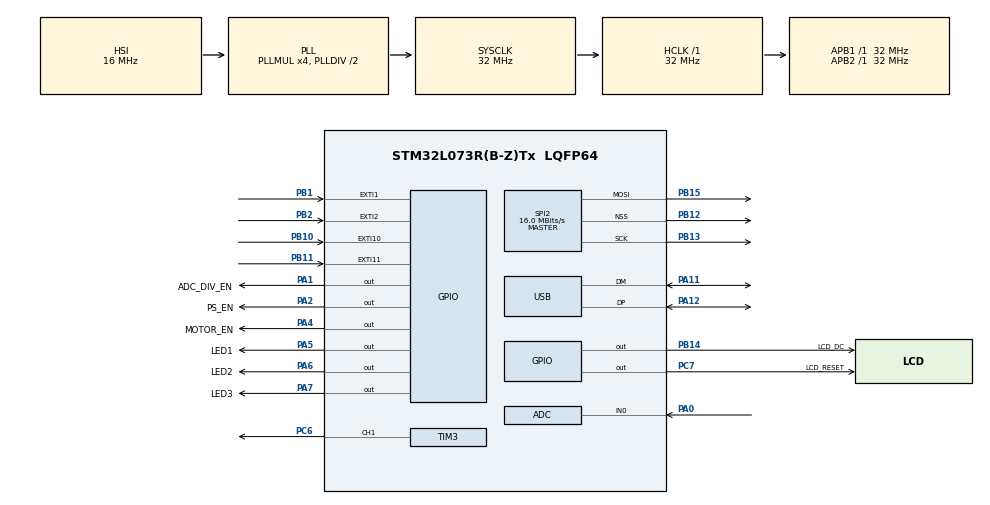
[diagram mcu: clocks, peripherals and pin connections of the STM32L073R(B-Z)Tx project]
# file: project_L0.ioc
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ADC.LowPowerAutoPowerOff=DISABLE
ADC.SamplingTime=ADC_SAMPLETIME_79CYCLES_5
Dma.Request0=SPI2_TX
Dma.SPI2_TX.0.Direction=DMA_MEMORY_TO_PERIPH
Dma.SPI2_TX.0.Instance=DMA1_Channel5
Dma.SPI2_TX.0.MemDataAlignment=DMA_MDATAALIGN_HALFWORD
Dma.SPI2_TX.0.MemInc=DMA_MINC_DISABLE
Dma.SPI2_TX.0.Mode=DMA_NORMAL
Dma.SPI2_TX.0.PeriphDataAlignment=DMA_PDATAALIGN_HALFWORD
Dma.SPI2_TX.0.PeriphInc=DMA_PINC_DISABLE
Dma.SPI2_TX.0.Priority=DMA_PRIORITY_LOW
Mcu.Family=STM32L0
Mcu.Name=STM32L073R(B-Z)Tx
Mcu.Package=LQFP64
NVIC.ADC1_COMP_IRQn=true\:0\:0\:false\:false\:true\:true\:true
NVIC.DMA1_Channel4_5_6_7_IRQn=true\:0\:0\:false\:false\:true\:false\:true
NVIC.EXTI0_1_IRQn=true\:0\:0\:false\:false\:true\:true\:true
NVIC.EXTI2_3_IRQn=true\:0\:0\:false\:false\:true\:true\:true
NVIC.EXTI4_15_IRQn=true\:0\:0\:true\:false\:true\:true\:true
NVIC.RTC_IRQn=true\:0\:0\:false\:false\:true\:true\:true
NVIC.SPI2_IRQn=true\:0\:0\:false\:false\:true\:true\:true
NVIC.TIM21_IRQn=true\:0\:0\:false\:false\:true\:true\:true
NVIC.TIM22_IRQn=true\:0\:0\:false\:false\:true\:true\:true
NVIC.TIM2_IRQn=true\:0\:0\:false\:false\:true\:true\:true
NVIC.TIM6_DAC_IRQn=true\:0\:0\:false\:false\:true\:true\:true
PA0.Mode=IN0
PA0.Signal=ADC_IN0
PA1.GPIO_Label=ADC_DIV_EN
PA1.Signal=GPIO_Output
PA11.Mode=Device
PA11.Signal=USB_DM
PA12.Mode=Device
PA12.Signal=USB_DP
PA2.GPIO_Label=PS_EN
PA2.PinState=GPIO_PIN_SET
PA2.Signal=GPIO_Output
PA4.GPIO_Label=MOTOR_EN
PA4.Signal=GPIO_Output
PA5.GPIO_Label=LED1
PA5.Signal=GPIO_Output
PA6.GPIO_Label=LED2
PA6.Signal=GPIO_Output
PA7.GPIO_Label=LED3
PA7.Signal=GPIO_Output
PB1.Signal=GPXTI1
PB10.Signal=GPXTI10
PB11.Signal=GPXTI11
PB12.Mode=NSS_Signal_Hard_Output
PB12.Signal=SPI2_NSS
PB13.Mode=TX_Only_Simplex_Unidirect_Master
PB13.Signal=SPI2_SCK
PB14.GPIO_Label=LCD_DC
PB14.GPIO_Speed=GPIO_SPEED_FREQ_VERY_HIGH
PB14.Signal=GPIO_Output
PB15.Mode=TX_Only_Simplex_Unidirect_Master
PB15.Signal=SPI2_MOSI
PB2.GPIO_PuPd=GPIO_NOPULL
PB2.Signal=GPXTI2
PC14-OSC32_IN.Mode=LSE-External-Oscillator
PC14-OSC32_IN.Signal=RCC_OSC32_IN
PC15-OSC32_OUT.Mode=LSE-External-Oscillator
PC15-OSC32_OUT.Signal=RCC_OSC32_OUT
PC6.Signal=S_TIM3_CH1
PC7.GPIO_Label=LCD_RESET
PC7.PinState=GPIO_PIN_SET
PC7.Signal=GPIO_Output
ProjectManager.HeapSize=0x200
ProjectManager.StackSize=0x400
ProjectManager.TargetToolchain=STM32CubeIDE
RCC.AHBFreq_Value=32000000
RCC.APB1Freq_Value=32000000
RCC.APB1TimFreq_Value=32000000
RCC.APB2Freq_Value=32000000
RCC.APB2TimFreq_Value=32000000
RCC.HCLKFreq_Value=32000000
RCC.HSE_VALUE=8000000
RCC.HSI16_VALUE=16000000
RCC.HSI48MClockSelection=RCC_USBCLKSOURCE_HSI48
RCC.HSI48_VALUE=48000000
RCC.HSI_VALUE=16000000
RCC.LptimClockSelection=RCC_LPTIM1CLKSOURCE_LSE
RCC.MSI_VALUE=2097000
RCC.PLLMUL=RCC_PLLMUL_4
RCC.RTCClockSelection=RCC_RTCCLKSOURCE_LSE
RCC.RTCClockSelectionVirtual=RCC_RTCCLKSOURCE_LSE
RCC.SYSCLKFreq_VALUE=32000000
RCC.SYSCLKSource=RCC_SYSCLKSOURCE_PLLCLK
RCC.VCOOutputFreq_Value=64000000
RTC.Alarm_B-Alarm\ B=RTC_ALARM_B
RTC.Format=RTC_FORMAT_BIN
RTC.Month=RTC_MONTH_DECEMBER
RTC.WeekDay=RTC_WEEKDAY_SUNDAY
RTC.Year=19
SH.S_TIM3_CH1.0=TIM3_CH1,PWM Generation1 CH1
SPI2.BaudRatePrescaler=SPI_BAUDRATEPRESCALER_2
SPI2.CalculateBaudRate=16.0 MBits/s
SPI2.Direction=SPI_DIRECTION_2LINES
SPI2.Mode=SPI_MODE_MASTER
SPI2.VirtualNSS=VM_NSSHARD
SPI2.VirtualType=VM_MASTER
TIM2.Channel-Output\ Compare2\ No\ Output=TIM_CHANNEL_2
TIM2.Period=0x3FFF
TIM2.Prescaler=0
TIM2.TIM2_ETR_REMAP-ClockSourceETR_Mode2_Remap_TIM2=TIM2_ETR_LSE
TIM21.AutoReloadPreload=TIM_AUTORELOAD_PRELOAD_DISABLE
TIM21.Channel-Output\ Compare1\ No\ Output=TIM_CHANNEL_1
TIM21.Channel-Output\ Compare2\ No\ Output=TIM_CHANNEL_2
TIM21.CounterMode=TIM_COUNTERMODE_UP
TIM21.Period=0x7FFF
TIM21.Pulse-Output\ Compare1\ No\ Output=0
TIM21.TIM21_ETR_REMAP-ClockSourceETR_Mode2_Remap_TIM21=TIM21_ETR_LSE
TIM22.Channel-Output\ Compare1\ No\ Output=TIM_CHANNEL_1
TIM22.CounterMode=TIM_COUNTERMODE_UP
TIM22.Period=1919
TIM22.Prescaler=0x400
TIM22.TIM22_ETR_REMAP-ClockSourceETR_Mode2_Remap_TIM22=TIM22_ETR_LSE
TIM3.Channel-PWM\ Generation1\ CH1=TIM_CHANNEL_1
TIM3.Period=0xFFFF
TIM6.AutoReloadPreload=TIM_AUTORELOAD_PRELOAD_ENABLE
TIM6.Period=50000
TIM6.Prescaler=320
VP_RTC_VS_RTC_Activate.Mode=RTC_Enabled
VP_RTC_VS_RTC_Alarm_B_Intern.Mode=Alarm B
VP_RTC_VS_RTC_Calendar.Mode=RTC_Calendar
VP_TIM21_VS_NoETR.Mode=ClockSourceETR_Mode2_Remap_TIM21
VP_TIM21_VS_no_output1.Mode=Output Compare1 No Output
VP_TIM21_VS_no_output2.Mode=Output Compare2 No Output
VP_TIM22_VS_NoETR.Mode=ClockSourceETR_Mode2_Remap_TIM22
VP_TIM22_VS_no_output1.Mode=Output Compare1 No Output
VP_TIM2_VS_NoETR.Mode=ClockSourceETR_Mode2_Remap_TIM2
VP_TIM2_VS_no_output2.Mode=Output Compare2 No Output
VP_TIM3_VS_ClockSourceINT.Mode=Internal
VP_TIM6_VS_ClockSourceINT.Mode=Enable_Timer
board=custom

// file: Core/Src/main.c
/* USER CODE BEGIN Header */
/**
  ******************************************************************************
  * @file           : main.c
  * @brief          : Main program body
  ******************************************************************************
  * @attention
  *
  * <h2><center>&copy; Copyright (c) 2019 STMicroelectronics.
  * All rights reserved.</center></h2>
  *
  * This software component is licensed by ST under BSD 3-Clause license,
  * the "License"; You may not use this file except in compliance with the
  * License. You may obtain a copy of the License at:
  *                        opensource.org/licenses/BSD-3-Clause
  *
  ******************************************************************************
  */
/* USER CODE END Header */
#include "main.h"

ADC_HandleTypeDef hadc;

RTC_HandleTypeDef hrtc;

SPI_HandleTypeDef hspi2;
DMA_HandleTypeDef hdma_spi2_tx;

TIM_HandleTypeDef htim2;
TIM_HandleTypeDef htim3;
TIM_HandleTypeDef htim6;
TIM_HandleTypeDef htim21;
TIM_HandleTypeDef htim22;

PCD_HandleTypeDef hpcd_USB_FS;

void SystemClock_Config(void);
static void MX_GPIO_Init(void);
static void MX_DMA_Init(void);
static void MX_ADC_Init(void);
static void MX_RTC_Init(void);
static void MX_TIM21_Init(void);
static void MX_TIM22_Init(void);
static void MX_TIM2_Init(void);
static void MX_TIM6_Init(void);
static void MX_TIM3_Init(void);
static void MX_SPI2_Init(void);
static void MX_USB_PCD_Init(void);

/* USER CODE BEGIN 0 */
void sleepMode() {
//	HAL_GPIO_WritePin(LED1_PORT, LED1_PIN, GPIO_PIN_RESET);
//	stopDisplayBacklight(&htim3);
	setDisplayBacklight(20, &htim3);
	clearClockAlarm(&hrtc);
//	HAL_PWR_EnterSLEEPMode(PWR_MAINREGULATOR_ON, PWR_SLEEPENTRY_WFI);		// has the same behavior as with __WFI()
	HAL_PWR_EnterSLEEPMode(PWR_LOWPOWERREGULATOR_ON, PWR_SLEEPENTRY_WFI);		// has the same behavior as with __WFI()
	setClockAlarm(&hrtc);
	setDisplayBacklight(50, &htim3);
//	HAL_GPIO_WritePin(LED1_PORT, LED1_PIN, GPIO_PIN_SET);					// basically measuring wake time (assuming only clock)
}

void stopMode() {
//	HAL_GPIO_WritePin(LED2_PORT, LED2_PIN, GPIO_PIN_RESET);
	stopDisplayBacklight(&htim3);
	clearClockAlarm(&hrtc);
	__HAL_PWR_CLEAR_FLAG(PWR_FLAG_WU);
//	HAL_PWR_EnterSTOPMode(PWR_MAINREGULATOR_ON, PWR_STOPENTRY_WFI);
	HAL_PWR_EnterSTOPMode(PWR_LOWPOWERREGULATOR_ON, PWR_STOPENTRY_WFI);
//	HAL_GPIO_WritePin(LED2_PORT, LED2_PIN, GPIO_PIN_SET);					// basically measuring wake time (assuming only clock)
	exitStopMode();
}

void exitStopMode() {
	HAL_Init();
	SystemClock_Config();
	MX_GPIO_Init();
	MX_ADC_Init();
	MX_TIM21_Init();
	MX_TIM22_Init();
	MX_TIM2_Init();
	MX_TIM6_Init();
	MX_TIM3_Init();
	MX_SPI2_Init();
	MX_USB_PCD_Init();
	HAL_SuspendTick();
	turnDisplayOn(&hspi2);
	setClockAlarm(&hrtc);
	runADCSampler(&htim22);
	setDisplayBacklight(50, &htim3);
}
/* USER CODE END 0 */

int main(void)
{

  /* MCU Configuration--------------------------------------------------------*/

  /* Reset of all peripherals, Initializes the Flash interface and the Systick. */
  HAL_Init();

  /* Configure the system clock */
  SystemClock_Config();

  /* Initialize all configured peripherals */
  MX_GPIO_Init();
  MX_DMA_Init();
  MX_ADC_Init();
  MX_RTC_Init();
  MX_TIM21_Init();
  MX_TIM22_Init();
  MX_TIM2_Init();
  MX_TIM6_Init();
  MX_TIM3_Init();
  MX_SPI2_Init();
  MX_USB_PCD_Init();
  /* USER CODE BEGIN 2 */
	// rtc software calibration
	setRTCCalibration(-8, &hrtc);
//	HAL_SuspendTick();					// disable systick. unused anyway (bad practice?)

  	// initialization for display
	TFT_startup(&hspi2);

	// initialization for ui and hardware
	initFace();
	setClockAlarm(&hrtc);
	runADCSampler(&htim22);
	setDisplayBacklight(50, &htim3);
//	HAL_SuspendTick();
  /* USER CODE END 2 */

  /* Infinite loop */
  /* USER CODE BEGIN WHILE */
//	while (1)
//	{
//    /* USER CODE END WHILE */
//
//    /* USER CODE BEGIN 3 */
//		updateState(&hrtc, &htim21, &htim3, &htim6, &hspi2);
//		updateDisplay(&hrtc, &hspi2);
//
//		batteryManager(&hadc, &hspi2, &htim21, &htim3);
//
//		if (isTimerDone || isAlarmDone) {
//			runMotor(&htim6);		// pls fix
//			updateDisplay(&hrtc, &hspi2);
//			isTimerDone = isAlarmDone = 0;
//		}
//	}
	input_test(&hspi2);
  /* USER CODE END 3 */
}

void SystemClock_Config(void)
{
  RCC_OscInitTypeDef RCC_OscInitStruct = {0};
  RCC_ClkInitTypeDef RCC_ClkInitStruct = {0};
  RCC_PeriphCLKInitTypeDef PeriphClkInit = {0};

  /** Configure the main internal regulator output voltage
  */
  __HAL_PWR_VOLTAGESCALING_CONFIG(PWR_REGULATOR_VOLTAGE_SCALE1);
  /** Configure LSE Drive Capability
  */
  HAL_PWR_EnableBkUpAccess();
  __HAL_RCC_LSEDRIVE_CONFIG(RCC_LSEDRIVE_LOW);
  /** Initializes the RCC Oscillators according to the specified parameters
  * in the RCC_OscInitTypeDef structure.
  */
  RCC_OscInitStruct.OscillatorType = RCC_OSCILLATORTYPE_HSI|RCC_OSCILLATORTYPE_LSE
                              |RCC_OSCILLATORTYPE_HSI48;
  RCC_OscInitStruct.LSEState = RCC_LSE_ON;
  RCC_OscInitStruct.HSIState = RCC_HSI_ON;
  RCC_OscInitStruct.HSICalibrationValue = RCC_HSICALIBRATION_DEFAULT;
  RCC_OscInitStruct.HSI48State = RCC_HSI48_ON;
  RCC_OscInitStruct.PLL.PLLState = RCC_PLL_ON;
  RCC_OscInitStruct.PLL.PLLSource = RCC_PLLSOURCE_HSI;
  RCC_OscInitStruct.PLL.PLLMUL = RCC_PLLMUL_4;
  RCC_OscInitStruct.PLL.PLLDIV = RCC_PLLDIV_2;
  if (HAL_RCC_OscConfig(&RCC_OscInitStruct) != HAL_OK)
  {
    Error_Handler();
  }
  /** Initializes the CPU, AHB and APB buses clocks
  */
  RCC_ClkInitStruct.ClockType = RCC_CLOCKTYPE_HCLK|RCC_CLOCKTYPE_SYSCLK
                              |RCC_CLOCKTYPE_PCLK1|RCC_CLOCKTYPE_PCLK2;
  RCC_ClkInitStruct.SYSCLKSource = RCC_SYSCLKSOURCE_PLLCLK;
  RCC_ClkInitStruct.AHBCLKDivider = RCC_SYSCLK_DIV1;
  RCC_ClkInitStruct.APB1CLKDivider = RCC_HCLK_DIV1;
  RCC_ClkInitStruct.APB2CLKDivider = RCC_HCLK_DIV1;

  if (HAL_RCC_ClockConfig(&RCC_ClkInitStruct, FLASH_LATENCY_1) != HAL_OK)
  {
    Error_Handler();
  }
  PeriphClkInit.PeriphClockSelection = RCC_PERIPHCLK_RTC|RCC_PERIPHCLK_USB;
  PeriphClkInit.RTCClockSelection = RCC_RTCCLKSOURCE_LSE;
  PeriphClkInit.UsbClockSelection = RCC_USBCLKSOURCE_HSI48;
  if (HAL_RCCEx_PeriphCLKConfig(&PeriphClkInit) != HAL_OK)
  {
    Error_Handler();
  }
}

static void MX_ADC_Init(void)
{

  ADC_ChannelConfTypeDef sConfig = {0};

  /** Configure the global features of the ADC (Clock, Resolution, Data Alignment and number of conversion)
  */
  hadc.Instance = ADC1;
  hadc.Init.OversamplingMode = DISABLE;
  hadc.Init.ClockPrescaler = ADC_CLOCK_SYNC_PCLK_DIV2;
  hadc.Init.Resolution = ADC_RESOLUTION_12B;
  hadc.Init.SamplingTime = ADC_SAMPLETIME_79CYCLES_5;
  hadc.Init.ScanConvMode = ADC_SCAN_DIRECTION_FORWARD;
  hadc.Init.DataAlign = ADC_DATAALIGN_RIGHT;
  hadc.Init.ContinuousConvMode = DISABLE;
  hadc.Init.DiscontinuousConvMode = DISABLE;
  hadc.Init.ExternalTrigConvEdge = ADC_EXTERNALTRIGCONVEDGE_NONE;
  hadc.Init.ExternalTrigConv = ADC_SOFTWARE_START;
  hadc.Init.DMAContinuousRequests = DISABLE;
  hadc.Init.EOCSelection = ADC_EOC_SINGLE_CONV;
  hadc.Init.Overrun = ADC_OVR_DATA_PRESERVED;
  hadc.Init.LowPowerAutoWait = DISABLE;
  hadc.Init.LowPowerFrequencyMode = DISABLE;
  hadc.Init.LowPowerAutoPowerOff = DISABLE;
  if (HAL_ADC_Init(&hadc) != HAL_OK)
  {
    Error_Handler();
  }
  /** Configure for the selected ADC regular channel to be converted.
  */
  sConfig.Channel = ADC_CHANNEL_0;
  sConfig.Rank = ADC_RANK_CHANNEL_NUMBER;
  if (HAL_ADC_ConfigChannel(&hadc, &sConfig) != HAL_OK)
  {
    Error_Handler();
  }

}

static void MX_RTC_Init(void)
{

  RTC_TimeTypeDef sTime = {0};
  RTC_DateTypeDef sDate = {0};
  RTC_AlarmTypeDef sAlarm = {0};

  /** Initialize RTC Only
  */
  hrtc.Instance = RTC;
  hrtc.Init.HourFormat = RTC_HOURFORMAT_24;
  hrtc.Init.AsynchPrediv = 127;
  hrtc.Init.SynchPrediv = 255;
  hrtc.Init.OutPut = RTC_OUTPUT_DISABLE;
  hrtc.Init.OutPutRemap = RTC_OUTPUT_REMAP_NONE;
  hrtc.Init.OutPutPolarity = RTC_OUTPUT_POLARITY_HIGH;
  hrtc.Init.OutPutType = RTC_OUTPUT_TYPE_OPENDRAIN;
  if (HAL_RTC_Init(&hrtc) != HAL_OK)
  {
    Error_Handler();
  }

  /** Initialize RTC and set the Time and Date
  */
  sTime.Hours = 0;
  sTime.Minutes = 0;
  sTime.Seconds = 0;
  sTime.DayLightSaving = RTC_DAYLIGHTSAVING_NONE;
  sTime.StoreOperation = RTC_STOREOPERATION_RESET;
  if (HAL_RTC_SetTime(&hrtc, &sTime, RTC_FORMAT_BIN) != HAL_OK)
  {
    Error_Handler();
  }
  sDate.WeekDay = RTC_WEEKDAY_SUNDAY;
  sDate.Month = RTC_MONTH_DECEMBER;
  sDate.Date = 1;
  sDate.Year = 19;

  if (HAL_RTC_SetDate(&hrtc, &sDate, RTC_FORMAT_BIN) != HAL_OK)
  {
    Error_Handler();
  }
  /** Enable the Alarm B
  */
  sAlarm.AlarmTime.Hours = 0;
  sAlarm.AlarmTime.Minutes = 0;
  sAlarm.AlarmTime.Seconds = 0;
  sAlarm.AlarmTime.SubSeconds = 0;
  sAlarm.AlarmTime.DayLightSaving = RTC_DAYLIGHTSAVING_NONE;
  sAlarm.AlarmTime.StoreOperation = RTC_STOREOPERATION_RESET;
  sAlarm.AlarmMask = RTC_ALARMMASK_NONE;
  sAlarm.AlarmSubSecondMask = RTC_ALARMSUBSECONDMASK_ALL;
  sAlarm.AlarmDateWeekDaySel = RTC_ALARMDATEWEEKDAYSEL_DATE;
  sAlarm.AlarmDateWeekDay = 1;
  sAlarm.Alarm = RTC_ALARM_B;
  if (HAL_RTC_SetAlarm_IT(&hrtc, &sAlarm, RTC_FORMAT_BIN) != HAL_OK)
  {
    Error_Handler();
  }

}

static void MX_SPI2_Init(void)
{

  /* SPI2 parameter configuration*/
  hspi2.Instance = SPI2;
  hspi2.Init.Mode = SPI_MODE_MASTER;
  hspi2.Init.Direction = SPI_DIRECTION_2LINES;
  hspi2.Init.DataSize = SPI_DATASIZE_8BIT;
  hspi2.Init.CLKPolarity = SPI_POLARITY_LOW;
  hspi2.Init.CLKPhase = SPI_PHASE_1EDGE;
  hspi2.Init.NSS = SPI_NSS_HARD_OUTPUT;
  hspi2.Init.BaudRatePrescaler = SPI_BAUDRATEPRESCALER_2;
  hspi2.Init.FirstBit = SPI_FIRSTBIT_MSB;
  hspi2.Init.TIMode = SPI_TIMODE_DISABLE;
  hspi2.Init.CRCCalculation = SPI_CRCCALCULATION_DISABLE;
  hspi2.Init.CRCPolynomial = 7;
  if (HAL_SPI_Init(&hspi2) != HAL_OK)
  {
    Error_Handler();
  }

}

static void MX_TIM2_Init(void)
{

  TIM_ClockConfigTypeDef sClockSourceConfig = {0};
  TIM_MasterConfigTypeDef sMasterConfig = {0};
  TIM_OC_InitTypeDef sConfigOC = {0};

  htim2.Instance = TIM2;
  htim2.Init.Prescaler = 0;
  htim2.Init.CounterMode = TIM_COUNTERMODE_UP;
  htim2.Init.Period = 0x3FFF;
  htim2.Init.ClockDivision = TIM_CLOCKDIVISION_DIV1;
  htim2.Init.AutoReloadPreload = TIM_AUTORELOAD_PRELOAD_DISABLE;
  if (HAL_TIM_Base_Init(&htim2) != HAL_OK)
  {
    Error_Handler();
  }
  sClockSourceConfig.ClockSource = TIM_CLOCKSOURCE_ETRMODE2;
  sClockSourceConfig.ClockPolarity = TIM_CLOCKPOLARITY_NONINVERTED;
  sClockSourceConfig.ClockPrescaler = TIM_CLOCKPRESCALER_DIV1;
  sClockSourceConfig.ClockFilter = 0;
  if (HAL_TIM_ConfigClockSource(&htim2, &sClockSourceConfig) != HAL_OK)
  {
    Error_Handler();
  }
  if (HAL_TIM_OC_Init(&htim2) != HAL_OK)
  {
    Error_Handler();
  }
  sMasterConfig.MasterOutputTrigger = TIM_TRGO_RESET;
  sMasterConfig.MasterSlaveMode = TIM_MASTERSLAVEMODE_DISABLE;
  if (HAL_TIMEx_MasterConfigSynchronization(&htim2, &sMasterConfig) != HAL_OK)
  {
    Error_Handler();
  }
  if (HAL_TIMEx_RemapConfig(&htim2, TIM2_ETR_LSE) != HAL_OK)
  {
    Error_Handler();
  }
  sConfigOC.OCMode = TIM_OCMODE_TIMING;
  sConfigOC.Pulse = 0;
  sConfigOC.OCPolarity = TIM_OCPOLARITY_HIGH;
  sConfigOC.OCFastMode = TIM_OCFAST_DISABLE;
  if (HAL_TIM_OC_ConfigChannel(&htim2, &sConfigOC, TIM_CHANNEL_2) != HAL_OK)
  {
    Error_Handler();
  }

}

static void MX_TIM3_Init(void)
{

  TIM_ClockConfigTypeDef sClockSourceConfig = {0};
  TIM_MasterConfigTypeDef sMasterConfig = {0};
  TIM_OC_InitTypeDef sConfigOC = {0};

  htim3.Instance = TIM3;
  htim3.Init.Prescaler = 0;
  htim3.Init.CounterMode = TIM_COUNTERMODE_UP;
  htim3.Init.Period = 0xFFFF;
  htim3.Init.ClockDivision = TIM_CLOCKDIVISION_DIV1;
  htim3.Init.AutoReloadPreload = TIM_AUTORELOAD_PRELOAD_DISABLE;
  if (HAL_TIM_Base_Init(&htim3) != HAL_OK)
  {
    Error_Handler();
  }
  sClockSourceConfig.ClockSource = TIM_CLOCKSOURCE_INTERNAL;
  if (HAL_TIM_ConfigClockSource(&htim3, &sClockSourceConfig) != HAL_OK)
  {
    Error_Handler();
  }
  if (HAL_TIM_PWM_Init(&htim3) != HAL_OK)
  {
    Error_Handler();
  }
  sMasterConfig.MasterOutputTrigger = TIM_TRGO_RESET;
  sMasterConfig.MasterSlaveMode = TIM_MASTERSLAVEMODE_DISABLE;
  if (HAL_TIMEx_MasterConfigSynchronization(&htim3, &sMasterConfig) != HAL_OK)
  {
    Error_Handler();
  }
  sConfigOC.OCMode = TIM_OCMODE_PWM1;
  sConfigOC.Pulse = 0;
  sConfigOC.OCPolarity = TIM_OCPOLARITY_HIGH;
  sConfigOC.OCFastMode = TIM_OCFAST_DISABLE;
  if (HAL_TIM_PWM_ConfigChannel(&htim3, &sConfigOC, TIM_CHANNEL_1) != HAL_OK)
  {
    Error_Handler();
  }
  if (HAL_TIMEx_RemapConfig(&htim3, TIM3_TI1_GPIO) != HAL_OK)
  {
    Error_Handler();
  }
  HAL_TIM_MspPostInit(&htim3);

}

static void MX_TIM6_Init(void)
{

  TIM_MasterConfigTypeDef sMasterConfig = {0};

  htim6.Instance = TIM6;
  htim6.Init.Prescaler = 320;
  htim6.Init.CounterMode = TIM_COUNTERMODE_UP;
  htim6.Init.Period = 50000;
  htim6.Init.AutoReloadPreload = TIM_AUTORELOAD_PRELOAD_ENABLE;
  if (HAL_TIM_Base_Init(&htim6) != HAL_OK)
  {
    Error_Handler();
  }
  sMasterConfig.MasterOutputTrigger = TIM_TRGO_RESET;
  sMasterConfig.MasterSlaveMode = TIM_MASTERSLAVEMODE_DISABLE;
  if (HAL_TIMEx_MasterConfigSynchronization(&htim6, &sMasterConfig) != HAL_OK)
  {
    Error_Handler();
  }

}

static void MX_TIM21_Init(void)
{

  TIM_ClockConfigTypeDef sClockSourceConfig = {0};
  TIM_MasterConfigTypeDef sMasterConfig = {0};
  TIM_OC_InitTypeDef sConfigOC = {0};

  htim21.Instance = TIM21;
  htim21.Init.Prescaler = 0;
  htim21.Init.CounterMode = TIM_COUNTERMODE_UP;
  htim21.Init.Period = 0x7FFF;
  htim21.Init.ClockDivision = TIM_CLOCKDIVISION_DIV1;
  htim21.Init.AutoReloadPreload = TIM_AUTORELOAD_PRELOAD_DISABLE;
  if (HAL_TIM_Base_Init(&htim21) != HAL_OK)
  {
    Error_Handler();
  }
  sClockSourceConfig.ClockSource = TIM_CLOCKSOURCE_ETRMODE2;
  sClockSourceConfig.ClockPolarity = TIM_CLOCKPOLARITY_NONINVERTED;
  sClockSourceConfig.ClockPrescaler = TIM_CLOCKPRESCALER_DIV1;
  sClockSourceConfig.ClockFilter = 0;
  if (HAL_TIM_ConfigClockSource(&htim21, &sClockSourceConfig) != HAL_OK)
  {
    Error_Handler();
  }
  if (HAL_TIM_OC_Init(&htim21) != HAL_OK)
  {
    Error_Handler();
  }
  sMasterConfig.MasterOutputTrigger = TIM_TRGO_RESET;
  sMasterConfig.MasterSlaveMode = TIM_MASTERSLAVEMODE_DISABLE;
  if (HAL_TIMEx_MasterConfigSynchronization(&htim21, &sMasterConfig) != HAL_OK)
  {
    Error_Handler();
  }
  if (HAL_TIMEx_RemapConfig(&htim21, TIM21_ETR_LSE) != HAL_OK)
  {
    Error_Handler();
  }
  sConfigOC.OCMode = TIM_OCMODE_TIMING;
  sConfigOC.Pulse = 0;
  sConfigOC.OCPolarity = TIM_OCPOLARITY_HIGH;
  sConfigOC.OCFastMode = TIM_OCFAST_DISABLE;
  if (HAL_TIM_OC_ConfigChannel(&htim21, &sConfigOC, TIM_CHANNEL_1) != HAL_OK)
  {
    Error_Handler();
  }
  if (HAL_TIM_OC_ConfigChannel(&htim21, &sConfigOC, TIM_CHANNEL_2) != HAL_OK)
  {
    Error_Handler();
  }

}

static void MX_TIM22_Init(void)
{

  TIM_ClockConfigTypeDef sClockSourceConfig = {0};
  TIM_MasterConfigTypeDef sMasterConfig = {0};
  TIM_OC_InitTypeDef sConfigOC = {0};

  htim22.Instance = TIM22;
  htim22.Init.Prescaler = 0x400;
  htim22.Init.CounterMode = TIM_COUNTERMODE_UP;
  htim22.Init.Period = 1919;
  htim22.Init.ClockDivision = TIM_CLOCKDIVISION_DIV1;
  htim22.Init.AutoReloadPreload = TIM_AUTORELOAD_PRELOAD_DISABLE;
  if (HAL_TIM_Base_Init(&htim22) != HAL_OK)
  {
    Error_Handler();
  }
  sClockSourceConfig.ClockSource = TIM_CLOCKSOURCE_ETRMODE2;
  sClockSourceConfig.ClockPolarity = TIM_CLOCKPOLARITY_NONINVERTED;
  sClockSourceConfig.ClockPrescaler = TIM_CLOCKPRESCALER_DIV1;
  sClockSourceConfig.ClockFilter = 0;
  if (HAL_TIM_ConfigClockSource(&htim22, &sClockSourceConfig) != HAL_OK)
  {
    Error_Handler();
  }
  if (HAL_TIM_OC_Init(&htim22) != HAL_OK)
  {
    Error_Handler();
  }
  sMasterConfig.MasterOutputTrigger = TIM_TRGO_RESET;
  sMasterConfig.MasterSlaveMode = TIM_MASTERSLAVEMODE_DISABLE;
  if (HAL_TIMEx_MasterConfigSynchronization(&htim22, &sMasterConfig) != HAL_OK)
  {
    Error_Handler();
  }
  if (HAL_TIMEx_RemapConfig(&htim22, TIM22_ETR_LSE) != HAL_OK)
  {
    Error_Handler();
  }
  sConfigOC.OCMode = TIM_OCMODE_TIMING;
  sConfigOC.Pulse = 0;
  sConfigOC.OCPolarity = TIM_OCPOLARITY_HIGH;
  sConfigOC.OCFastMode = TIM_OCFAST_DISABLE;
  if (HAL_TIM_OC_ConfigChannel(&htim22, &sConfigOC, TIM_CHANNEL_1) != HAL_OK)
  {
    Error_Handler();
  }

}

static void MX_USB_PCD_Init(void)
{

  hpcd_USB_FS.Instance = USB;
  hpcd_USB_FS.Init.dev_endpoints = 8;
  hpcd_USB_FS.Init.speed = PCD_SPEED_FULL;
  hpcd_USB_FS.Init.phy_itface = PCD_PHY_EMBEDDED;
  hpcd_USB_FS.Init.low_power_enable = DISABLE;
  hpcd_USB_FS.Init.lpm_enable = DISABLE;
  hpcd_USB_FS.Init.battery_charging_enable = DISABLE;
  if (HAL_PCD_Init(&hpcd_USB_FS) != HAL_OK)
  {
    Error_Handler();
  }

}

static void MX_DMA_Init(void)
{

  /* DMA controller clock enable */
  __HAL_RCC_DMA1_CLK_ENABLE();

  /* DMA interrupt init */
  /* DMA1_Channel4_5_6_7_IRQn interrupt configuration */
  HAL_NVIC_SetPriority(DMA1_Channel4_5_6_7_IRQn, 0, 0);
  HAL_NVIC_EnableIRQ(DMA1_Channel4_5_6_7_IRQn);

}

static void MX_GPIO_Init(void)
{
  GPIO_InitTypeDef GPIO_InitStruct = {0};

  /* GPIO Ports Clock Enable */
  __HAL_RCC_GPIOC_CLK_ENABLE();
  __HAL_RCC_GPIOA_CLK_ENABLE();
  __HAL_RCC_GPIOB_CLK_ENABLE();

  /*Configure GPIO pin Output Level */
  HAL_GPIO_WritePin(GPIOA, ADC_DIV_EN_Pin|MOTOR_EN_Pin|LED1_Pin|LED2_Pin
                          |LED3_Pin, GPIO_PIN_RESET);

  /*Configure GPIO pin Output Level */
  HAL_GPIO_WritePin(PS_EN_GPIO_Port, PS_EN_Pin, GPIO_PIN_SET);

  /*Configure GPIO pin Output Level */
  HAL_GPIO_WritePin(LCD_DC_GPIO_Port, LCD_DC_Pin, GPIO_PIN_RESET);

  /*Configure GPIO pin Output Level */
  HAL_GPIO_WritePin(LCD_RESET_GPIO_Port, LCD_RESET_Pin, GPIO_PIN_SET);

  /*Configure GPIO pins : ADC_DIV_EN_Pin PS_EN_Pin MOTOR_EN_Pin LED1_Pin
                           LED2_Pin LED3_Pin */
  GPIO_InitStruct.Pin = ADC_DIV_EN_Pin|PS_EN_Pin|MOTOR_EN_Pin|LED1_Pin
                          |LED2_Pin|LED3_Pin;
  GPIO_InitStruct.Mode = GPIO_MODE_OUTPUT_PP;
  GPIO_InitStruct.Pull = GPIO_NOPULL;
  GPIO_InitStruct.Speed = GPIO_SPEED_FREQ_LOW;
  HAL_GPIO_Init(GPIOA, &GPIO_InitStruct);

  /*Configure GPIO pins : PB1 PB2 PB10 PB11 */
  GPIO_InitStruct.Pin = GPIO_PIN_1|GPIO_PIN_2|GPIO_PIN_10|GPIO_PIN_11;
  GPIO_InitStruct.Mode = GPIO_MODE_IT_RISING;
  GPIO_InitStruct.Pull = GPIO_NOPULL;
  HAL_GPIO_Init(GPIOB, &GPIO_InitStruct);

  /*Configure GPIO pin : LCD_DC_Pin */
  GPIO_InitStruct.Pin = LCD_DC_Pin;
  GPIO_InitStruct.Mode = GPIO_MODE_OUTPUT_PP;
  GPIO_InitStruct.Pull = GPIO_NOPULL;
  GPIO_InitStruct.Speed = GPIO_SPEED_FREQ_VERY_HIGH;
  HAL_GPIO_Init(LCD_DC_GPIO_Port, &GPIO_InitStruct);

  /*Configure GPIO pin : LCD_RESET_Pin */
  GPIO_InitStruct.Pin = LCD_RESET_Pin;
  GPIO_InitStruct.Mode = GPIO_MODE_OUTPUT_PP;
  GPIO_InitStruct.Pull = GPIO_NOPULL;
  GPIO_InitStruct.Speed = GPIO_SPEED_FREQ_LOW;
  HAL_GPIO_Init(LCD_RESET_GPIO_Port, &GPIO_InitStruct);

  /* EXTI interrupt init*/
  HAL_NVIC_SetPriority(EXTI0_1_IRQn, 0, 0);
  HAL_NVIC_EnableIRQ(EXTI0_1_IRQn);

  HAL_NVIC_SetPriority(EXTI2_3_IRQn, 0, 0);
  HAL_NVIC_EnableIRQ(EXTI2_3_IRQn);

  HAL_NVIC_SetPriority(EXTI4_15_IRQn, 0, 0);
  HAL_NVIC_EnableIRQ(EXTI4_15_IRQn);

}

void Error_Handler(void)
{
}

/************************ (C) COPYRIGHT STMicroelectronics *****END OF FILE****/
